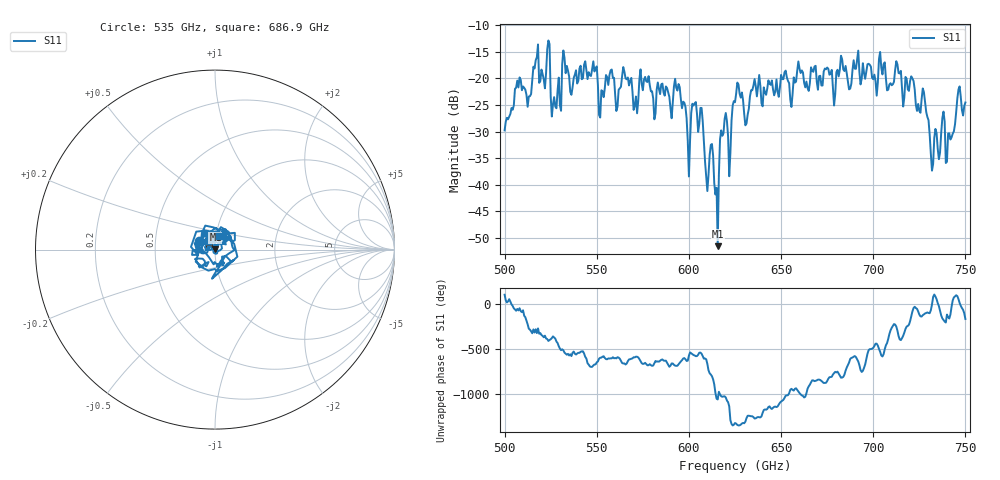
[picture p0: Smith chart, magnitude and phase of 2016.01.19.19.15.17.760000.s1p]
!Created with skrf (http://scikit-rf.org).
# GHz S RI R 50.0
!freq ReS11 ImS11
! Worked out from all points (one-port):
!   401 points, 500 GHz to 750 GHz, reference 50 ohm
!   lowest |S11| = -51.5 dB at 615.6 GHz (marker M1), VSWR 1.01, Z = 50.2 + j0.101 ohm
!   |S11| at or under -10 dB: start of sweep to end of sweep
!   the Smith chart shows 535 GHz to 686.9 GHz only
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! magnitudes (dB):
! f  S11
! 500 GHz  -29.8
! 507.5 GHz  -21.7
! 513.1 GHz  -23.4
! 516.9 GHz  -16.6
! 523.8 GHz  -12.9
! 526.9 GHz  -23.5
! 531.2 GHz  -17.3
! 562.5 GHz  -21.9
! 593.8 GHz  -22.3
! 599.4 GHz  -31.8
! 602.5 GHz  -25.1
! 606.9 GHz  -25.6
! 609.4 GHz  -38.3
! 612.5 GHz  -32.3
! 615.6 GHz  -51.5
! 618.1 GHz  -30.8
! 621.9 GHz  -38.4
! 625 GHz  -24.5
! 631.2 GHz  -28.5
! 635 GHz  -21.4
! 656.2 GHz  -22.9
! 660 GHz  -18.2
! 687.5 GHz  -21.9
! 690.6 GHz  -18.2
! 718.8 GHz  -22.1
! 727.5 GHz  -22.6
! 731.9 GHz  -37.3
! 750 GHz  -24.5
